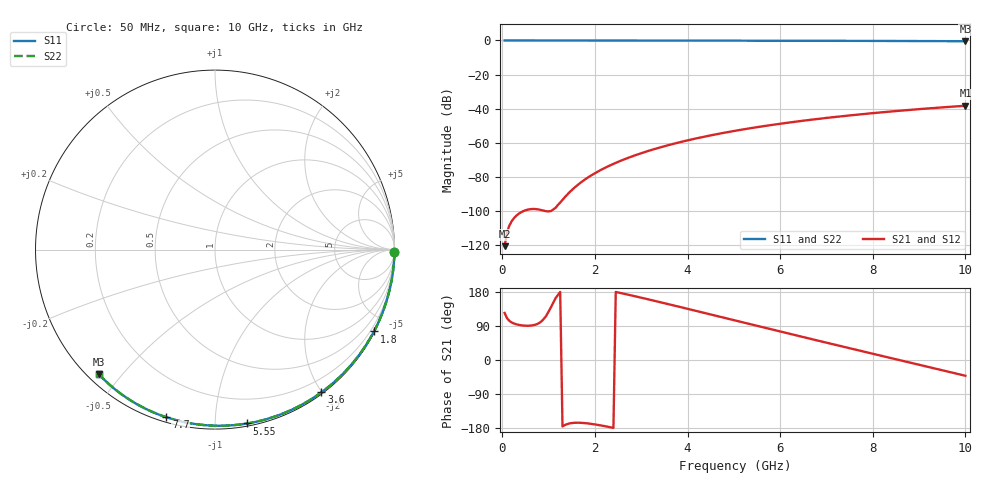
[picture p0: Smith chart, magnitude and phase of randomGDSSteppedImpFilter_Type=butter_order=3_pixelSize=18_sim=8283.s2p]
! freq	dB(S11)	phase(S11)	dB(S12)	phase(S12)
!  dB(S21)	phase(S21)	dB(S22)	phase(S22)
!S-par simulation data
#  GHz  S  DB  R 50
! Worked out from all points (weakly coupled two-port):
!   200 points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, 50 MHz to 10 GHz, reference 50 ohm
!   highest |S21| = -38.33 dB at 10 GHz (marker M1); lowest = -120.7 dB at 50 MHz (marker M2)
!   lowest |S11| = -0.5 dB at 10 GHz (marker M3), VSWR 38.57, Z = 1.54 - j21.8 ohm
!   |S11| at or under -10 dB: nowhere
!   |S22| runs from -0.5 to 0.0 dB; largest |S21 - S12| = 0
!   S11 on the Smith chart (normalised r, x): 50 MHz: open; 1.8 GHz: 0.04, -4.13; 3.6 GHz: 0.02, -1.99; 5.55 GHz: 0.02, -1.20; 7.7 GHz: 0.02, -0.75; 10 GHz: 0.03, -0.44
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0.05  -0.00 -0.8  -120.74 124.1  -120.74 124.1  -0.00 -0.8
0.9  -0.02 -13.8  -99.97 109.0  -99.97 109.0  -0.02 -13.8
1.75  -0.03 -26.5  -82.27 -166.2  -82.27 -166.2  -0.03 -26.5
1.8  -0.03 -27.2  -81.32 -166.7  -81.32 -166.7  -0.03 -27.2
1.85  -0.04 -28.0  -80.42 -167.4  -80.42 -167.4  -0.04 -28.0
1.9  -0.04 -28.7  -79.55 -168.2  -79.55 -168.2  -0.04 -28.7
2.05  -0.04 -30.9  -77.15 -171.0  -77.15 -171.0  -0.04 -30.9
2.25  -0.04 -33.9  -74.32 -175.5  -74.32 -175.5  -0.04 -33.9
2.45  -0.05 -36.8  -71.83 179.5  -71.83 179.5  -0.05 -36.8
2.65  -0.05 -39.7  -69.59 174.2  -69.59 174.2  -0.05 -39.7
3  -0.06 -44.8  -66.17 164.4  -66.17 164.4  -0.06 -44.8
3.4  -0.07 -50.5  -62.83 152.9  -62.83 152.9  -0.07 -50.5
3.6  -0.07 -53.3  -61.34 147.0  -61.34 147.0  -0.07 -53.3
4.3  -0.09 -62.9  -56.83 126.2  -56.83 126.2  -0.09 -62.9
5.05  -0.11 -73.0  -52.91 103.7  -52.91 103.7  -0.11 -73.0
5.55  -0.13 -79.5  -50.68 88.7  -50.68 88.7  -0.13 -79.5
6.1  -0.15 -86.6  -48.51 72.3  -48.51 72.3  -0.15 -86.6
6.7  -0.18 -94.1  -46.42 54.5  -46.42 54.5  -0.18 -94.1
7.7  -0.24 -106.2  -43.45 25.2  -43.45 25.2  -0.24 -106.2
8.35  -0.29 -113.9  -41.79 6.3  -41.79 6.3  -0.29 -113.9
9.15  -0.36 -123.2  -39.99 -16.8  -39.99 -16.8  -0.36 -123.2
10  -0.45 -132.9  -38.33 -41.6  -38.33 -41.6  -0.45 -132.9
